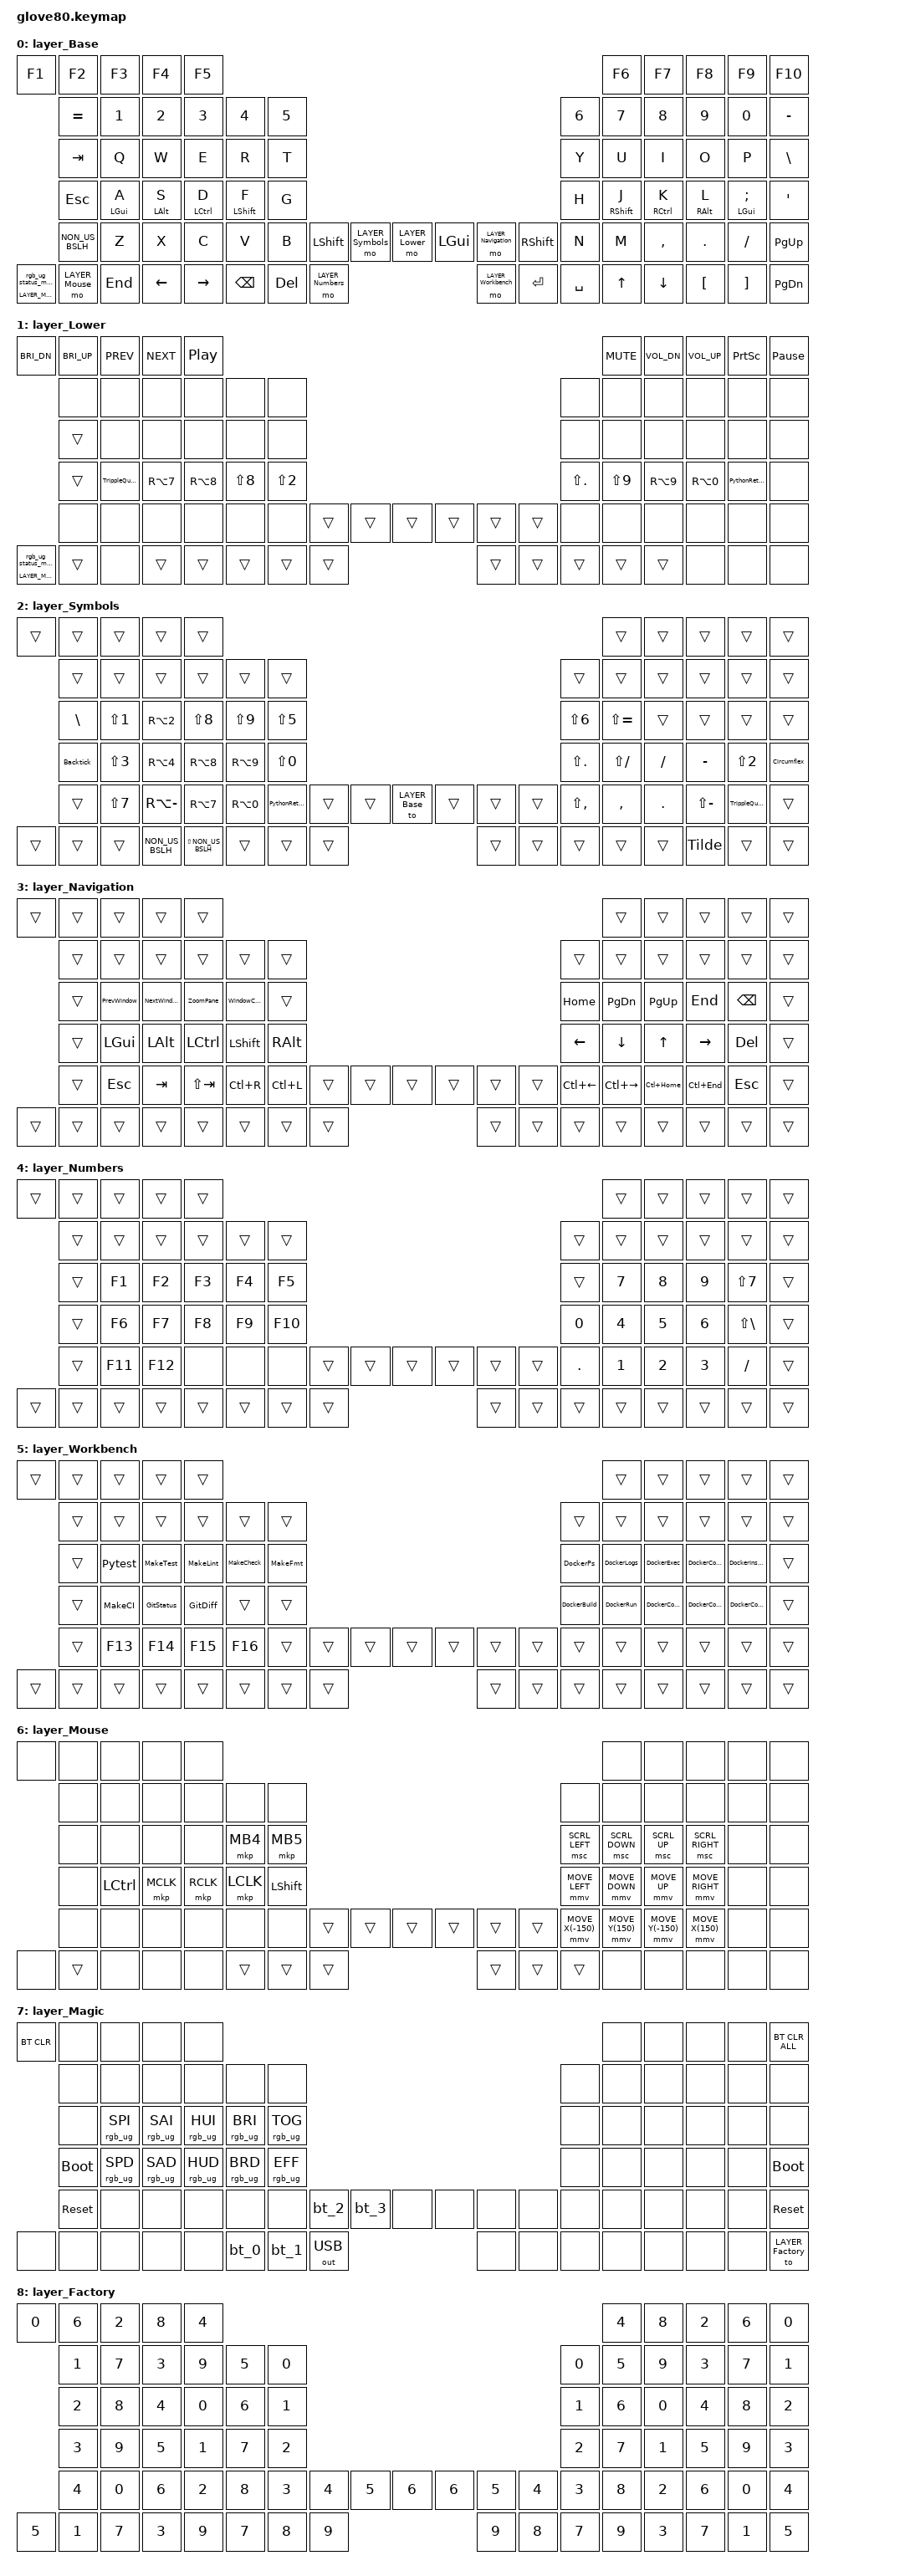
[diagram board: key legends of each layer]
/*
 * Copyright (c) 2020 The ZMK Contributors
 * Copyright (c) 2025 Innaworks Development Limited, trading as MoErgo
 *
 * SPDX-License-Identifier: MIT
 */


/* THIS FILE WAS GENERATED BY GLOVE80 LAYOUT EDITOR
 *
 * This file was generated automatically. You may or may not want to
 * edit it directly.
 */

#include <behaviors.dtsi>
/* Include all behavior includes needed */
#include <dt-bindings/zmk/outputs.h>
#include <dt-bindings/zmk/keys.h>
#include <dt-bindings/zmk/bt.h>
#include <dt-bindings/zmk/rgb.h>

/* On demand includes */
#include <dt-bindings/zmk/pointing.h>

/* Helper Macros, based on https://github.com/urob/zmk-helpers/ */

#pragma once

#define ZMK_HELPER_STRINGIFY(x) #x

// Preprocessor mechanism to overload macros, cf. https://stackoverflow.com/a/27051616/6114651
#define VARGS_(_10, _9, _8, _7, _6, _5, _4, _3, _2, _1, N, ...) N
#define VARGS(...) VARGS_(__VA_ARGS__, 10, 9, 8, 7, 6, 5, 4, 3, 2, 1, 0)
#define CONCAT_(a, b) a##b
#define CONCAT(a, b) CONCAT_(a, b)

#define ZMK_BEHAVIOR_CORE_tap_dance  \
    compatible = "zmk,behavior-tap-dance"; \
    #binding-cells = <0>

#define ZMK_BEHAVIOR(name, type, ...) \
    name: name { \
        ZMK_BEHAVIOR_CORE_ ## type; \
        __VA_ARGS__ \
    };

#define ZMK_TAP_DANCE(name, ...) \
    ZMK_BEHAVIOR(name, tap_dance, __VA_ARGS__)

#define ZMK_TD_LAYER(name, layer) \
    ZMK_TAP_DANCE(name, \
        tapping-term-ms = <200>; \
        bindings = <&mo layer>, <&to layer>; \
)

/* Environment and metadata defines */
#define KB_TYPE_GLOVE_80 1
#define KB_TYPE_GO_60    2

#define KB_TYPE          KB_TYPE_GLOVE_80
#define EDITOR_HOST_OS   'L'

/* Automatically generated layer name defines */
#define LAYER_Base 0
#define LAYER_Lower 1
#define LAYER_Symbols 2
#define LAYER_Navigation 3
#define LAYER_Numbers 4
#define LAYER_Workbench 5
#define LAYER_Mouse 6
#define LAYER_Magic 7
#define LAYER_Factory 8

/* To deal with the situation where there is no Lower layer, to keep &lower happy */
#ifndef LAYER_Lower
#define LAYER_Lower 0
#endif

/* Custom Device-tree */

#include "modifier-lighting.dtsi"

/* Input Listeners */


/* System behavior and Macros */
/ {
    behaviors {
        ZMK_TD_LAYER(lower, LAYER_Lower)
    };
};

/ {
    macros {
        rgb_ug_status_macro: rgb_ug_status_macro {
            label = "RGB_UG_STATUS";
            compatible = "zmk,behavior-macro";
            #binding-cells = <0>;
            bindings
                = <&rgb_ug RGB_STATUS>;
        };
    };
};


/ {
#ifdef BT_DISC_CMD
    behaviors {
        bt_0: bt_0 {
            compatible = "zmk,behavior-tap-dance";
            label = "BT_0";
            #binding-cells = <0>;
            tapping-term-ms = <200>;
            bindings = <&bt_select_0>, <&bt BT_DISC 0>;
        };
        bt_1: bt_1 {
            compatible = "zmk,behavior-tap-dance";
            label = "BT_1";
            #binding-cells = <0>;
            tapping-term-ms = <200>;
            bindings = <&bt_select_1>, <&bt BT_DISC 1>;
        };
        bt_2: bt_2 {
            compatible = "zmk,behavior-tap-dance";
            label = "BT_2";
            #binding-cells = <0>;
            tapping-term-ms = <200>;
            bindings = <&bt_select_2>, <&bt BT_DISC 2>;
        };
        bt_3: bt_3 {
            compatible = "zmk,behavior-tap-dance";
            label = "BT_3";
            #binding-cells = <0>;
            tapping-term-ms = <200>;
            bindings = <&bt_select_3>, <&bt BT_DISC 3>;
        };
    };
    macros {
        bt_select_0: bt_select_0 {
            label = "BT_SELECT_0";
            compatible = "zmk,behavior-macro";
            #binding-cells = <0>;
            bindings
                = <&out OUT_BLE>,
                  <&bt BT_SEL 0>;
        };
        bt_select_1: bt_select_1 {
            label = "BT_SELECT_1";
            compatible = "zmk,behavior-macro";
            #binding-cells = <0>;
            bindings
                = <&out OUT_BLE>,
                  <&bt BT_SEL 1>;
        };
        bt_select_2: bt_select_2 {
            label = "BT_SELECT_2";
            compatible = "zmk,behavior-macro";
            #binding-cells = <0>;
            bindings
                = <&out OUT_BLE>,
                  <&bt BT_SEL 2>;
        };
        bt_select_3: bt_select_3 {
            label = "BT_SELECT_3";
            compatible = "zmk,behavior-macro";
            #binding-cells = <0>;
            bindings
                = <&out OUT_BLE>,
                  <&bt BT_SEL 3>;
        };
    };
#else
    macros {
        bt_0: bt_0 {
            label = "BT_0";
            compatible = "zmk,behavior-macro";
            #binding-cells = <0>;
            bindings
                = <&out OUT_BLE>,
                  <&bt BT_SEL 0>;
        };
        bt_1: bt_1 {
            label = "BT_1";
            compatible = "zmk,behavior-macro";
            #binding-cells = <0>;
            bindings
                = <&out OUT_BLE>,
                  <&bt BT_SEL 1>;
        };
        bt_2: bt_2 {
            label = "BT_2";
            compatible = "zmk,behavior-macro";
            #binding-cells = <0>;
            bindings
                = <&out OUT_BLE>,
                  <&bt BT_SEL 2>;
        };
        bt_3: bt_3 {
            label = "BT_3";
            compatible = "zmk,behavior-macro";
            #binding-cells = <0>;
            bindings
                = <&out OUT_BLE>,
                  <&bt BT_SEL 3>;
        };
    };
#endif
};

/ {
    behaviors {
        magic: magic {
            compatible = "zmk,behavior-hold-tap";
            label = "MAGIC_HOLD_TAP";
            #binding-cells = <2>;
            flavor = "tap-preferred";
            tapping-term-ms = <200>;
            bindings = <&mo>, <&rgb_ug_status_macro>;
        };
    };
};


/* Locale-specific keycodes */

#define SV_SECTION GRAVE
#define SV_PLUS MINUS
#define SV_ACUTE EQUAL
#define SV_E E
#define SV_A_RING LEFT_BRACKET
#define SV_UMLA RIGHT_BRACKET
#define SV_OE SEMICOLON
#define SV_AE SINGLE_QUOTE
#define SV_SQT BACKSLASH
#define SV_LT NON_US_BACKSLASH
#define SV_COMMA COMMA
#define SV_DOT PERIOD
#define SV_MINUS SLASH
#define SV_N1 N1
#define SV_N2 N2
#define SV_N3 N3
#define SV_N4 N4
#define SV_N5 N5
#define SV_N6 N6
#define SV_N7 N7
#define SV_N8 N8
#define SV_N9 N9
#define SV_N0 N0


/* Key positions */

#define POS_LH_C6R1 0
#define POS_LH_C5R1 1
#define POS_LH_C4R1 2
#define POS_LH_C3R1 3
#define POS_LH_C2R1 4
#define POS_RH_C2R1 5
#define POS_RH_C3R1 6
#define POS_RH_C4R1 7
#define POS_RH_C5R1 8
#define POS_RH_C6R1 9
#define POS_LH_C6R2 10
#define POS_LH_C5R2 11
#define POS_LH_C4R2 12
#define POS_LH_C3R2 13
#define POS_LH_C2R2 14
#define POS_LH_C1R2 15
#define POS_RH_C1R2 16
#define POS_RH_C2R2 17
#define POS_RH_C3R2 18
#define POS_RH_C4R2 19
#define POS_RH_C5R2 20
#define POS_RH_C6R2 21
#define POS_LH_C6R3 22
#define POS_LH_C5R3 23
#define POS_LH_C4R3 24
#define POS_LH_C3R3 25
#define POS_LH_C2R3 26
#define POS_LH_C1R3 27
#define POS_RH_C1R3 28
#define POS_RH_C2R3 29
#define POS_RH_C3R3 30
#define POS_RH_C4R3 31
#define POS_RH_C5R3 32
#define POS_RH_C6R3 33
#define POS_LH_C6R4 34
#define POS_LH_C5R4 35
#define POS_LH_C4R4 36
#define POS_LH_C3R4 37
#define POS_LH_C2R4 38
#define POS_LH_C1R4 39
#define POS_RH_C1R4 40
#define POS_RH_C2R4 41
#define POS_RH_C3R4 42
#define POS_RH_C4R4 43
#define POS_RH_C5R4 44
#define POS_RH_C6R4 45
#define POS_LH_C6R5 46
#define POS_LH_C5R5 47
#define POS_LH_C4R5 48
#define POS_LH_C3R5 49
#define POS_LH_C2R5 50
#define POS_LH_C1R5 51
#define POS_LH_T1 52
#define POS_LH_T2 53
#define POS_LH_T3 54
#define POS_RH_T3 55
#define POS_RH_T2 56
#define POS_RH_T1 57
#define POS_RH_C1R5 58
#define POS_RH_C2R5 59
#define POS_RH_C3R5 60
#define POS_RH_C4R5 61
#define POS_RH_C5R5 62
#define POS_RH_C6R5 63
#define POS_LH_C6R6 64
#define POS_LH_C5R6 65
#define POS_LH_C4R6 66
#define POS_LH_C3R6 67
#define POS_LH_C2R6 68
#define POS_LH_T4 69
#define POS_LH_T5 70
#define POS_LH_T6 71
#define POS_RH_T6 72
#define POS_RH_T5 73
#define POS_RH_T4 74
#define POS_RH_C2R6 75
#define POS_RH_C3R6 76
#define POS_RH_C4R6 77
#define POS_RH_C5R6 78
#define POS_RH_C6R6 79


/* Custom Defined Behaviors */
/ {

};

/* Generated input processors */


/* Automatically generated macro definitions */
/ {
    macros {

        // writes a Python return arrow
        PythonReturn: PythonReturn {
            label = "&PYTHONRETURN";
            compatible = "zmk,behavior-macro";
            #binding-cells = <0>;
            wait-ms = <30>;
            bindings = <&kp FSLH>
                , <&kp LS(NON_US_BSLH)>;
        };

        // Tripple quotation marks
        TrippleQuote: TrippleQuote {
            label = "&TRIPPLEQUOTE";
            compatible = "zmk,behavior-macro";
            #binding-cells = <0>;
            wait-ms = <30>;
            bindings = <&kp LS(N2)>
                , <&kp LS(N2)>
                , <&kp LS(N2)>;
        };

        Tilde: Tilde {
            label = "&TILDE";
            compatible = "zmk,behavior-macro";
            #binding-cells = <0>;
            wait-ms = <30>;
            bindings = <&kp RA(RBKT)>
                , <&kp SPACE>;
        };

        Circumflex: Circumflex {
            label = "&CIRCUMFLEX";
            compatible = "zmk,behavior-macro";
            #binding-cells = <0>;
            wait-ms = <30>;
            bindings = <&kp LS(RBKT)>
                , <&kp SPACE>;
        };

        Backtick: Backtick {
            label = "&BACKTICK";
            compatible = "zmk,behavior-macro";
            #binding-cells = <0>;
            wait-ms = <30>;
            bindings = <&kp LS(EQUAL)>
                , <&kp SPACE>;
        };

        PrevWindow: PrevWindow {
            label = "&PREVWINDOW";
            compatible = "zmk,behavior-macro";
            #binding-cells = <0>;
            wait-ms = <30>;
            bindings = <&kp LC(A)>
                , <&kp P>;
        };

        NextWindow: NextWindow {
            label = "&NEXTWINDOW";
            compatible = "zmk,behavior-macro";
            #binding-cells = <0>;
            wait-ms = <30>;
            bindings = <&kp LC(A)>
                , <&kp N>;
        };

        WindowChooser: WindowChooser {
            label = "&WINDOWCHOOSER";
            compatible = "zmk,behavior-macro";
            #binding-cells = <0>;
            wait-ms = <30>;
            bindings = <&kp LC(A)>
                , <&kp W>;
        };

        ZoomPane: ZoomPane {
            label = "&ZOOMPANE";
            compatible = "zmk,behavior-macro";
            #binding-cells = <0>;
            wait-ms = <30>;
            bindings = <&kp LC(A)>
                , <&kp Z>;
        };

        Pytest: Pytest {
            label = "&PYTEST";
            compatible = "zmk,behavior-macro";
            #binding-cells = <0>;
            wait-ms = <30>;
            bindings = <&kp P>
                , <&kp Y>
                , <&kp T>
                , <&kp H>
                , <&kp O>
                , <&kp N>
                , <&kp SPACE>
                , <&kp FSLH>
                , <&kp M>
                , <&kp SPACE>
                , <&kp P>
                , <&kp Y>
                , <&kp T>
                , <&kp E>
                , <&kp S>
                , <&kp T>
                , <&kp SPACE>;
        };

        MakeTest: MakeTest {
            label = "&MAKETEST";
            compatible = "zmk,behavior-macro";
            #binding-cells = <0>;
            wait-ms = <30>;
            bindings = <&kp M>
                , <&kp A>
                , <&kp K>
                , <&kp E>
                , <&kp SPACE>
                , <&kp T>
                , <&kp E>
                , <&kp S>
                , <&kp T>
                , <&kp SPACE>;
        };

        MakeLint: MakeLint {
            label = "&MAKELINT";
            compatible = "zmk,behavior-macro";
            #binding-cells = <0>;
            wait-ms = <30>;
            bindings = <&kp M>
                , <&kp A>
                , <&kp K>
                , <&kp E>
                , <&kp SPACE>
                , <&kp L>
                , <&kp I>
                , <&kp N>
                , <&kp T>
                , <&kp SPACE>;
        };

        MakeCheck: MakeCheck {
            label = "&MAKECHECK";
            compatible = "zmk,behavior-macro";
            #binding-cells = <0>;
            wait-ms = <30>;
            bindings = <&kp M>
                , <&kp A>
                , <&kp K>
                , <&kp E>
                , <&kp SPACE>
                , <&kp C>
                , <&kp H>
                , <&kp E>
                , <&kp C>
                , <&kp K>
                , <&kp SPACE>;
        };

        MakeFmt: MakeFmt {
            label = "&MAKEFMT";
            compatible = "zmk,behavior-macro";
            #binding-cells = <0>;
            wait-ms = <30>;
            bindings = <&kp M>
                , <&kp A>
                , <&kp K>
                , <&kp E>
                , <&kp SPACE>
                , <&kp F>
                , <&kp M>
                , <&kp T>
                , <&kp SPACE>;
        };

        MakeCI: MakeCI {
            label = "&MAKECI";
            compatible = "zmk,behavior-macro";
            #binding-cells = <0>;
            wait-ms = <30>;
            bindings = <&kp M>
                , <&kp A>
                , <&kp K>
                , <&kp E>
                , <&kp SPACE>
                , <&kp C>
                , <&kp I>
                , <&kp SPACE>;
        };

        GitStatus: GitStatus {
            label = "&GITSTATUS";
            compatible = "zmk,behavior-macro";
            #binding-cells = <0>;
            wait-ms = <30>;
            bindings = <&kp G>
                , <&kp I>
                , <&kp T>
                , <&kp SPACE>
                , <&kp S>
                , <&kp T>
                , <&kp A>
                , <&kp T>
                , <&kp U>
                , <&kp S>
                , <&kp SPACE>;
        };

        GitDiff: GitDiff {
            label = "&GITDIFF";
            compatible = "zmk,behavior-macro";
            #binding-cells = <0>;
            wait-ms = <30>;
            bindings = <&kp G>
                , <&kp I>
                , <&kp T>
                , <&kp SPACE>
                , <&kp D>
                , <&kp I>
                , <&kp F>
                , <&kp F>
                , <&kp SPACE>;
        };

        DockerPs: DockerPs {
            label = "&DOCKERPS";
            compatible = "zmk,behavior-macro";
            #binding-cells = <0>;
            wait-ms = <30>;
            bindings = <&kp D>
                , <&kp O>
                , <&kp C>
                , <&kp K>
                , <&kp E>
                , <&kp R>
                , <&kp SPACE>
                , <&kp P>
                , <&kp S>
                , <&kp SPACE>;
        };

        DockerLogs: DockerLogs {
            label = "&DOCKERLOGS";
            compatible = "zmk,behavior-macro";
            #binding-cells = <0>;
            wait-ms = <30>;
            bindings = <&kp D>
                , <&kp O>
                , <&kp C>
                , <&kp K>
                , <&kp E>
                , <&kp R>
                , <&kp SPACE>
                , <&kp L>
                , <&kp O>
                , <&kp G>
                , <&kp S>
                , <&kp SPACE>
                , <&kp FSLH>
                , <&kp F>
                , <&kp SPACE>;
        };

        DockerExec: DockerExec {
            label = "&DOCKEREXEC";
            compatible = "zmk,behavior-macro";
            #binding-cells = <0>;
            wait-ms = <30>;
            bindings = <&kp D>
                , <&kp O>
                , <&kp C>
                , <&kp K>
                , <&kp E>
                , <&kp R>
                , <&kp SPACE>
                , <&kp E>
                , <&kp X>
                , <&kp E>
                , <&kp C>
                , <&kp SPACE>
                , <&kp FSLH>
                , <&kp I>
                , <&kp T>
                , <&kp SPACE>;
        };

        DockerCompose: DockerCompose {
            label = "&DOCKERCOMPOSE";
            compatible = "zmk,behavior-macro";
            #binding-cells = <0>;
            wait-ms = <30>;
            bindings = <&kp D>
                , <&kp O>
                , <&kp C>
                , <&kp K>
                , <&kp E>
                , <&kp R>
                , <&kp SPACE>
                , <&kp C>
                , <&kp O>
                , <&kp M>
                , <&kp P>
                , <&kp O>
                , <&kp S>
                , <&kp E>
                , <&kp SPACE>;
        };

        DockerInspect: DockerInspect {
            label = "&DOCKERINSPECT";
            compatible = "zmk,behavior-macro";
            #binding-cells = <0>;
            wait-ms = <30>;
            bindings = <&kp D>
                , <&kp O>
                , <&kp C>
                , <&kp K>
                , <&kp E>
                , <&kp R>
                , <&kp SPACE>
                , <&kp I>
                , <&kp N>
                , <&kp S>
                , <&kp P>
                , <&kp E>
                , <&kp C>
                , <&kp T>
                , <&kp SPACE>;
        };

        DockerBuild: DockerBuild {
            label = "&DOCKERBUILD";
            compatible = "zmk,behavior-macro";
            #binding-cells = <0>;
            wait-ms = <30>;
            bindings = <&kp D>
                , <&kp O>
                , <&kp C>
                , <&kp K>
                , <&kp E>
                , <&kp R>
                , <&kp SPACE>
                , <&kp B>
                , <&kp U>
                , <&kp I>
                , <&kp L>
                , <&kp D>
                , <&kp SPACE>
                , <&kp FSLH>
                , <&kp T>
                , <&kp SPACE>;
        };

        DockerRun: DockerRun {
            label = "&DOCKERRUN";
            compatible = "zmk,behavior-macro";
            #binding-cells = <0>;
            wait-ms = <30>;
            bindings = <&kp D>
                , <&kp O>
                , <&kp C>
                , <&kp K>
                , <&kp E>
                , <&kp R>
                , <&kp SPACE>
                , <&kp R>
                , <&kp U>
                , <&kp N>
                , <&kp SPACE>
                , <&kp FSLH>
                , <&kp R>
                , <&kp M>
                , <&kp SPACE>;
        };

        DockerComposeLogs: DockerComposeLogs {
            label = "&DOCKERCOMPOSELOGS";
            compatible = "zmk,behavior-macro";
            #binding-cells = <0>;
            wait-ms = <30>;
            bindings = <&kp D>
                , <&kp O>
                , <&kp C>
                , <&kp K>
                , <&kp E>
                , <&kp R>
                , <&kp SPACE>
                , <&kp C>
                , <&kp O>
                , <&kp M>
                , <&kp P>
                , <&kp O>
                , <&kp S>
                , <&kp E>
                , <&kp SPACE>
                , <&kp L>
                , <&kp O>
                , <&kp G>
                , <&kp S>
                , <&kp SPACE>
                , <&kp FSLH>
                , <&kp F>
                , <&kp SPACE>;
        };

        DockerComposeUp: DockerComposeUp {
            label = "&DOCKERCOMPOSEUP";
            compatible = "zmk,behavior-macro";
            #binding-cells = <0>;
            wait-ms = <30>;
            bindings = <&kp D>
                , <&kp O>
                , <&kp C>
                , <&kp K>
                , <&kp E>
                , <&kp R>
                , <&kp SPACE>
                , <&kp C>
                , <&kp O>
                , <&kp M>
                , <&kp P>
                , <&kp O>
                , <&kp S>
                , <&kp E>
                , <&kp SPACE>
                , <&kp U>
                , <&kp P>
                , <&kp SPACE>;
        };

        DockerComposeConfig: DockerComposeConfig {
            label = "&DOCKERCOMPOSECONFIG";
            compatible = "zmk,behavior-macro";
            #binding-cells = <0>;
            wait-ms = <30>;
            bindings = <&kp D>
                , <&kp O>
                , <&kp C>
                , <&kp K>
                , <&kp E>
                , <&kp R>
                , <&kp SPACE>
                , <&kp C>
                , <&kp O>
                , <&kp M>
                , <&kp P>
                , <&kp O>
                , <&kp S>
                , <&kp E>
                , <&kp SPACE>
                , <&kp C>
                , <&kp O>
                , <&kp N>
                , <&kp F>
                , <&kp I>
                , <&kp G>
                , <&kp SPACE>;
        };
    };
};

/* Automatically generated behavior definitions */
/ {
    behaviors {


        // Capsword helper - tap for caps_word - hold for key press
        CAPSWord_v1_TKZ: CAPSWord_v1_TKZ {
            compatible = "zmk,behavior-hold-tap";
            #binding-cells = <2>;
            tapping-term-ms = <200>;
            bindings = <&kp>, <&caps_word>;
        };

        // Homerow Mod for the left index finger - TailorKey.
        // For advanced tuning of HRM values, see: https://docs.google.com/spreadsheets/d/1ESgObQelyz4lnKlfwLYsmofLJulOMK5RdGBsopLe2o8
        HRM_left_index_v1_TKZ: HRM_left_index_v1_TKZ {
            compatible = "zmk,behavior-hold-tap";
            #binding-cells = <2>;
            tapping-term-ms = <190>;
            bindings = <&kp>, <&kp>;
            flavor = "tap-preferred";
            quick-tap-ms = <300>;
            require-prior-idle-ms = <100>;
            hold-trigger-key-positions = <POS_RH_T1 POS_RH_T2 POS_RH_T3 POS_RH_T6 POS_RH_T5 POS_RH_T4 POS_RH_C2R1 POS_RH_C3R1 POS_RH_C4R1 POS_RH_C5R1 POS_RH_C1R2 POS_RH_C2R2 POS_RH_C3R2 POS_RH_C4R2 POS_RH_C5R2 POS_RH_C1R3 POS_RH_C2R3 POS_RH_C3R3 POS_RH_C4R3 POS_RH_C5R3 POS_RH_C1R4 POS_RH_C2R4 POS_RH_C3R4 POS_RH_C4R4 POS_RH_C5R4 POS_RH_C1R5 POS_RH_C2R5 POS_RH_C3R5 POS_RH_C4R5 POS_RH_C5R5 POS_RH_C2R6 POS_RH_C3R6 POS_RH_C4R6 POS_RH_C5R6 POS_RH_C6R1 POS_RH_C6R2 POS_RH_C6R3 POS_RH_C6R4 POS_RH_C6R5 POS_RH_C6R6 POS_LH_T1 POS_LH_T2 POS_LH_T3 POS_LH_T5 POS_LH_T6 POS_LH_T4>;
            hold-trigger-on-release;
        };

        // Homerow Mod for the left middle finger - TailorKey
        HRM_left_middy_v1_TKZ: HRM_left_middy_v1_TKZ {
            compatible = "zmk,behavior-hold-tap";
            #binding-cells = <2>;
            tapping-term-ms = <210>;
            bindings = <&kp>, <&kp>;
            flavor = "tap-preferred";
            quick-tap-ms = <300>;
            require-prior-idle-ms = <150>;
            hold-trigger-key-positions = <POS_RH_T1 POS_RH_T2 POS_RH_T3 POS_RH_T6 POS_RH_T5 POS_RH_T4 POS_RH_C2R1 POS_RH_C3R1 POS_RH_C4R1 POS_RH_C5R1 POS_RH_C1R2 POS_RH_C2R2 POS_RH_C3R2 POS_RH_C4R2 POS_RH_C5R2 POS_RH_C1R3 POS_RH_C2R3 POS_RH_C3R3 POS_RH_C4R3 POS_RH_C5R3 POS_RH_C1R4 POS_RH_C2R4 POS_RH_C3R4 POS_RH_C4R4 POS_RH_C5R4 POS_RH_C1R5 POS_RH_C2R5 POS_RH_C3R5 POS_RH_C4R5 POS_RH_C5R5 POS_RH_C2R6 POS_RH_C3R6 POS_RH_C4R6 POS_RH_C5R6 POS_RH_C6R1 POS_RH_C6R2 POS_RH_C6R3 POS_RH_C6R4 POS_RH_C6R5 POS_RH_C6R6 POS_LH_T1 POS_LH_T2 POS_LH_T3 POS_LH_T4 POS_LH_T5 POS_LH_T6>;
            hold-trigger-on-release;
        };

        // Homerow Mod for the left pinky - TailorKey
        HRM_left_pinky_v1_TKZ: HRM_left_pinky_v1_TKZ {
            compatible = "zmk,behavior-hold-tap";
            #binding-cells = <2>;
            tapping-term-ms = <260>;
            bindings = <&kp>, <&kp>;
            flavor = "tap-preferred";
            quick-tap-ms = <300>;
            require-prior-idle-ms = <150>;
            hold-trigger-key-positions = <POS_RH_T1 POS_RH_T2 POS_RH_T3 POS_RH_T6 POS_RH_T5 POS_RH_T4 POS_RH_C2R1 POS_RH_C3R1 POS_RH_C4R1 POS_RH_C5R1 POS_RH_C6R1 POS_RH_C1R2 POS_RH_C2R2 POS_RH_C3R2 POS_RH_C4R2 POS_RH_C5R2 POS_RH_C6R2 POS_RH_C2R3 POS_RH_C3R3 POS_RH_C4R3 POS_RH_C5R3 POS_RH_C6R3 POS_RH_C3R4 POS_RH_C4R4 POS_RH_C5R4 POS_RH_C6R4 POS_RH_C3R5 POS_RH_C4R5 POS_RH_C5R5 POS_RH_C6R5 POS_RH_C1R3 POS_RH_C1R4 POS_RH_C2R4 POS_RH_C1R5 POS_RH_C2R5 POS_RH_C2R6 POS_RH_C3R6 POS_RH_C4R6 POS_RH_C6R6 POS_RH_C5R6 POS_LH_T1 POS_LH_T2 POS_LH_T3 POS_LH_T4 POS_LH_T5 POS_LH_T6>;
            hold-trigger-on-release;
        };

        // Homerow Mod for the left ring finger 1 - TailorKey
        HRM_left_ring_v1_TKZ: HRM_left_ring_v1_TKZ {
            compatible = "zmk,behavior-hold-tap";
            #binding-cells = <2>;
            tapping-term-ms = <240>;
            bindings = <&kp>, <&kp>;
            flavor = "tap-preferred";
            quick-tap-ms = <300>;
            require-prior-idle-ms = <150>;
            hold-trigger-key-positions = <POS_RH_T1 POS_RH_T2 POS_RH_T3 POS_RH_T6 POS_RH_T5 POS_RH_T4 POS_RH_C2R1 POS_RH_C3R1 POS_RH_C4R1 POS_RH_C5R1 POS_RH_C1R2 POS_RH_C2R2 POS_RH_C3R2 POS_RH_C4R2 POS_RH_C5R2 POS_RH_C1R3 POS_RH_C2R3 POS_RH_C3R3 POS_RH_C4R3 POS_RH_C5R3 POS_RH_C1R4 POS_RH_C2R4 POS_RH_C3R4 POS_RH_C4R4 POS_RH_C5R4 POS_RH_C1R5 POS_RH_C2R5 POS_RH_C3R5 POS_RH_C4R5 POS_RH_C5R5 POS_RH_C2R6 POS_RH_C3R6 POS_RH_C4R6 POS_RH_C5R6 POS_RH_C6R1 POS_RH_C6R2 POS_RH_C6R3 POS_RH_C6R4 POS_RH_C6R5 POS_RH_C6R6 POS_LH_T1 POS_LH_T2 POS_LH_T3 POS_LH_T4 POS_LH_T5 POS_LH_T6>;
            hold-trigger-on-release;
        };

        // Homerow Mod for the right index finger - TailorKey
        HRM_right_index_v1_TKZ: HRM_right_index_v1_TKZ {
            compatible = "zmk,behavior-hold-tap";
            #binding-cells = <2>;
            tapping-term-ms = <190>;
            bindings = <&kp>, <&kp>;
            flavor = "tap-preferred";
            quick-tap-ms = <300>;
            require-prior-idle-ms = <100>;
            hold-trigger-key-positions = <POS_LH_T1 POS_LH_T2 POS_LH_T3 POS_LH_T6 POS_LH_T5 POS_LH_T4 POS_LH_C6R1 POS_LH_C5R1 POS_LH_C6R2 POS_LH_C5R2 POS_LH_C4R2 POS_LH_C3R2 POS_LH_C2R2 POS_LH_C6R3 POS_LH_C5R3 POS_LH_C4R3 POS_LH_C3R3 POS_LH_C2R3 POS_LH_C1R3 POS_LH_C6R4 POS_LH_C5R4 POS_LH_C4R4 POS_LH_C3R4 POS_LH_C2R4 POS_LH_C1R4 POS_LH_C6R5 POS_LH_C5R5 POS_LH_C4R5 POS_LH_C3R5 POS_LH_C2R5 POS_LH_C1R5 POS_LH_C6R6 POS_LH_C5R6 POS_LH_C4R6 POS_LH_C3R6 POS_LH_C2R6 POS_LH_C1R2 POS_LH_C2R1 POS_LH_C4R1 POS_LH_C3R1 POS_RH_T3 POS_RH_T2 POS_RH_T1 POS_RH_T6 POS_RH_T5 POS_RH_T4>;
            hold-trigger-on-release;
        };

        // Homerow Mod for the right middle finger - TailorKey
        HRM_right_middy_v1_TKZ: HRM_right_middy_v1_TKZ {
            compatible = "zmk,behavior-hold-tap";
            #binding-cells = <2>;
            tapping-term-ms = <210>;
            bindings = <&kp>, <&kp>;
            flavor = "tap-preferred";
            quick-tap-ms = <300>;
            require-prior-idle-ms = <150>;
            hold-trigger-key-positions = <POS_LH_T1 POS_LH_T2 POS_LH_T3 POS_LH_T6 POS_LH_T5 POS_LH_T4 POS_LH_C6R1 POS_LH_C5R1 POS_LH_C6R2 POS_LH_C5R2 POS_LH_C4R2 POS_LH_C3R2 POS_LH_C2R2 POS_LH_C6R3 POS_LH_C5R3 POS_LH_C4R3 POS_LH_C3R3 POS_LH_C2R3 POS_LH_C1R3 POS_LH_C6R4 POS_LH_C5R4 POS_LH_C4R4 POS_LH_C3R4 POS_LH_C2R4 POS_LH_C1R4 POS_LH_C6R5 POS_LH_C5R5 POS_LH_C4R5 POS_LH_C3R5 POS_LH_C2R5 POS_LH_C1R5 POS_LH_C6R6 POS_LH_C5R6 POS_LH_C4R6 POS_LH_C3R6 POS_LH_C2R6 POS_LH_C1R2 POS_LH_C2R1 POS_LH_C4R1 POS_LH_C3R1 POS_RH_T3 POS_RH_T2 POS_RH_T1 POS_RH_T6 POS_RH_T5 POS_RH_T4>;
            hold-trigger-on-release;
        };

        // Homerow Mod for the right pinky - TailorKey
        HRM_right_pinky_v1_TKZ: HRM_right_pinky_v1_TKZ {
            compatible = "zmk,behavior-hold-tap";
            #binding-cells = <2>;
            tapping-term-ms = <260>;
            bindings = <&kp>, <&kp>;
            flavor = "tap-preferred";
            quick-tap-ms = <300>;
            require-prior-idle-ms = <150>;
            hold-trigger-key-positions = <POS_LH_T1 POS_LH_T2 POS_LH_T3 POS_LH_T6 POS_LH_T5 POS_LH_T4 POS_LH_C6R1 POS_LH_C5R1 POS_LH_C6R2 POS_LH_C5R2 POS_LH_C4R2 POS_LH_C3R2 POS_LH_C2R2 POS_LH_C6R3 POS_LH_C5R3 POS_LH_C4R3 POS_LH_C3R3 POS_LH_C2R3 POS_LH_C1R3 POS_LH_C6R4 POS_LH_C5R4 POS_LH_C4R4 POS_LH_C3R4 POS_LH_C2R4 POS_LH_C1R4 POS_LH_C6R5 POS_LH_C5R5 POS_LH_C4R5 POS_LH_C3R5 POS_LH_C2R5 POS_LH_C1R5 POS_LH_C6R6 POS_LH_C5R6 POS_LH_C4R6 POS_LH_C3R6 POS_LH_C2R6 POS_LH_C1R2 POS_LH_C2R1 POS_LH_C4R1 POS_LH_C3R1 POS_RH_T3 POS_RH_T2 POS_RH_T1 POS_RH_T6 POS_RH_T5 POS_RH_T4>;
            hold-trigger-on-release;
        };

        // Homerow Mod for the right ring 1 - TailorKey
        //
        HRM_right_ring_v1_TKZ: HRM_right_ring_v1_TKZ {
            compatible = "zmk,behavior-hold-tap";
            #binding-cells = <2>;
            tapping-term-ms = <240>;
            bindings = <&kp>, <&kp>;
            flavor = "tap-preferred";
            quick-tap-ms = <300>;
            require-prior-idle-ms = <150>;
            hold-trigger-key-positions = <POS_LH_T1 POS_LH_T2 POS_LH_T3 POS_LH_T6 POS_LH_T5 POS_LH_T4 POS_LH_C6R1 POS_LH_C5R1 POS_LH_C6R2 POS_LH_C5R2 POS_LH_C4R2 POS_LH_C3R2 POS_LH_C2R2 POS_LH_C6R3 POS_LH_C5R3 POS_LH_C4R3 POS_LH_C3R3 POS_LH_C2R3 POS_LH_C1R3 POS_LH_C6R4 POS_LH_C5R4 POS_LH_C4R4 POS_LH_C3R4 POS_LH_C2R4 POS_LH_C1R4 POS_LH_C6R5 POS_LH_C5R5 POS_LH_C4R5 POS_LH_C3R5 POS_LH_C2R5 POS_LH_C1R5 POS_LH_C6R6 POS_LH_C5R6 POS_LH_C4R6 POS_LH_C3R6 POS_LH_C2R6 POS_LH_C1R2 POS_LH_C2R1 POS_LH_C4R1 POS_LH_C3R1 POS_RH_T3 POS_RH_T2 POS_RH_T1 POS_RH_T6 POS_RH_T5 POS_RH_T4>;
            hold-trigger-on-release;
        };

        // space_layer_access - TailorKey
        space_v3_TKZ: space_v3_TKZ {
            compatible = "zmk,behavior-hold-tap";
            #binding-cells = <2>;
            tapping-term-ms = <200>;
            bindings = <&mo>, <&kp>;
            flavor = "balanced";
            quick-tap-ms = <150>;
        };

        // thumb_layer_access - TailorKey
        thumb_v2_TKZ: thumb_v2_TKZ {
            compatible = "zmk,behavior-hold-tap";
            #binding-cells = <2>;
            tapping-term-ms = <200>;
            bindings = <&mo>, <&kp>;
            flavor = "balanced";
            quick-tap-ms = <300>;
        };
    };
};

/* Automatically generated combos definitions */


/* Automatically generated keymap */
/ {
    keymap {
        compatible = "zmk,keymap";


        layer_Base {
            bindings = <
               &kp F1                         &kp F2                        &kp F3                          &kp F4                          &kp F5                                                                                                                                                  &kp F6                           &kp F7                         &kp F8                             &kp F9    &kp F10
            &kp EQUAL                         &kp N1                        &kp N2                          &kp N3                          &kp N4  &kp N5                                                                                                         &kp N6                           &kp N7                           &kp N8                         &kp N9                             &kp N0  &kp MINUS
              &kp TAB                          &kp Q                         &kp W                           &kp E                           &kp R   &kp T                                                                                                          &kp Y                            &kp U                            &kp I                          &kp O                              &kp P   &kp BSLH
              &kp ESC  &HRM_left_pinky_v1_TKZ LGUI A  &HRM_left_ring_v1_TKZ LALT S  &HRM_left_middy_v1_TKZ LCTRL D  &HRM_left_index_v1_TKZ LSHFT F   &kp G                                                                                                          &kp H  &HRM_right_index_v1_TKZ RSHFT J  &HRM_right_middy_v1_TKZ RCTRL K  &HRM_right_ring_v1_TKZ RALT L  &HRM_right_pinky_v1_TKZ LGUI SEMI    &kp SQT
      &kp NON_US_BSLH                          &kp Z                         &kp X                           &kp C                           &kp V   &kp B  &kp LSHFT  &mo LAYER_Symbols    &mo LAYER_Lower             &kp LGUI  &mo LAYER_Navigation  &kp RSHFT   &kp N                            &kp M                        &kp COMMA                        &kp DOT                           &kp FSLH  &kp PG_UP
 &magic LAYER_Magic 0                &mo LAYER_Mouse                       &kp END                        &kp LEFT                       &kp RIGHT           &kp BSPC            &kp DEL  &mo LAYER_Numbers  &mo LAYER_Workbench               &kp RET  &kp SPACE                                   &kp UP                         &kp DOWN                       &kp LBKT                           &kp RBKT  &kp PG_DN
            >;
        };

        layer_Lower {
            bindings = <
         &kp C_BRI_DN   &kp C_BRI_UP  &kp C_PREV  &kp C_NEXT    &kp C_PP                                                                           &kp C_MUTE  &kp C_VOL_DN  &kp C_VOL_UP      &kp PSCRN  &kp PAUSE_BREAK
                &none          &none       &none       &none       &none       &none                                                        &none       &none         &none         &none          &none            &none
               &trans          &none       &none       &none       &none       &none                                                        &none       &none         &none         &none          &none            &none
               &trans  &TrippleQuote  &kp RA(N7)  &kp RA(N8)  &kp LS(N8)  &kp LS(N2)                                                  &kp LS(DOT)  &kp LS(N9)    &kp RA(N9)    &kp RA(N0)  &PythonReturn            &none
                &none          &none       &none       &none       &none       &none  &trans  &trans  &trans  &trans  &trans  &trans        &none       &none         &none         &none          &none            &none
 &magic LAYER_Magic 0         &trans       &none      &trans      &trans              &trans  &trans  &trans  &trans  &trans  &trans                   &trans        &trans         &none          &none            &none
            >;
        };

        layer_Symbols {
            bindings = <
    &trans      &trans         &trans           &trans               &trans                                                                                               &trans    &trans         &trans         &trans       &trans
    &trans      &trans         &trans           &trans               &trans         &trans                                                                 &trans         &trans    &trans         &trans         &trans       &trans
  &kp BSLH  &kp LS(N1)     &kp RA(N2)       &kp LS(N8)           &kp LS(N9)     &kp LS(N5)                                                             &kp LS(N6)  &kp LS(EQUAL)    &trans         &trans         &trans       &trans
 &Backtick  &kp LS(N3)     &kp RA(N4)       &kp RA(N8)           &kp RA(N9)     &kp LS(N0)                                                            &kp LS(DOT)   &kp LS(FSLH)  &kp FSLH      &kp MINUS     &kp LS(N2)  &Circumflex
    &trans  &kp LS(N7)  &kp RA(MINUS)       &kp RA(N7)           &kp RA(N0)  &PythonReturn  &trans  &trans  &to LAYER_Base  &trans  &trans  &trans  &kp LS(COMMA)      &kp COMMA   &kp DOT  &kp LS(MINUS)  &TrippleQuote       &trans
    &trans      &trans         &trans  &kp NON_US_BSLH  &kp LS(NON_US_BSLH)                 &trans  &trans          &trans  &trans  &trans  &trans                        &trans    &trans         &Tilde         &trans       &trans
            >;
        };

        layer_Navigation {
            bindings = <
 &trans       &trans       &trans       &trans          &trans                                                                                  &trans        &trans       &trans    &trans  &trans
 &trans       &trans       &trans       &trans          &trans     &trans                                                        &trans         &trans        &trans       &trans    &trans  &trans
 &trans  &PrevWindow  &NextWindow    &ZoomPane  &WindowChooser     &trans                                                      &kp HOME      &kp PG_DN     &kp PG_UP      &kp END  &kp BSPC  &trans
 &trans     &kp LGUI     &kp LALT    &kp LCTRL       &kp LSHFT   &kp RALT                                                      &kp LEFT       &kp DOWN        &kp UP    &kp RIGHT   &kp DEL  &trans
 &trans      &kp ESC      &kp TAB  &kp LS(TAB)       &kp LC(R)  &kp LC(L)  &trans  &trans  &trans  &trans  &trans  &trans  &kp LC(LEFT)  &kp LC(RIGHT)  &kp LC(HOME)  &kp LC(END)   &kp ESC  &trans
 &trans       &trans       &trans       &trans          &trans             &trans  &trans  &trans  &trans  &trans  &trans                       &trans        &trans       &trans    &trans  &trans
            >;
        };

        layer_Numbers {
            bindings = <
 &trans   &trans   &trans  &trans  &trans                                                                    &trans  &trans  &trans        &trans  &trans
 &trans   &trans   &trans  &trans  &trans   &trans                                                   &trans  &trans  &trans  &trans        &trans  &trans
 &trans   &kp F1   &kp F2  &kp F3  &kp F4   &kp F5                                                   &trans  &kp N7  &kp N8  &kp N9    &kp LS(N7)  &trans
 &trans   &kp F6   &kp F7  &kp F8  &kp F9  &kp F10                                                   &kp N0  &kp N4  &kp N5  &kp N6  &kp LS(BSLH)  &trans
 &trans  &kp F11  &kp F12   &none   &none    &none  &trans  &trans  &trans  &trans  &trans  &trans  &kp DOT  &kp N1  &kp N2  &kp N3      &kp FSLH  &trans
 &trans   &trans   &trans  &trans  &trans           &trans  &trans  &trans  &trans  &trans  &trans           &trans  &trans  &trans        &trans  &trans
            >;
        };

        layer_Workbench {
            bindings = <
 &trans   &trans      &trans     &trans      &trans                                                                               &trans              &trans            &trans                &trans  &trans
 &trans   &trans      &trans     &trans      &trans    &trans                                                        &trans       &trans              &trans            &trans                &trans  &trans
 &trans  &Pytest   &MakeTest  &MakeLint  &MakeCheck  &MakeFmt                                                     &DockerPs  &DockerLogs         &DockerExec    &DockerCompose        &DockerInspect  &trans
 &trans  &MakeCI  &GitStatus   &GitDiff      &trans    &trans                                                  &DockerBuild   &DockerRun  &DockerComposeLogs  &DockerComposeUp  &DockerComposeConfig  &trans
 &trans  &kp F13     &kp F14    &kp F15     &kp F16    &trans  &trans  &trans  &trans  &trans  &trans  &trans        &trans       &trans              &trans            &trans                &trans  &trans
 &trans   &trans      &trans     &trans      &trans            &trans  &trans  &trans  &trans  &trans  &trans                     &trans              &trans            &trans                &trans  &trans
            >;
        };

        layer_Mouse {
            bindings = <
  &none      &none      &none      &none      &none                                                                                           &none              &none             &none   &none   &none
  &none      &none      &none      &none      &none      &none                                                              &none             &none              &none             &none   &none   &none
  &none      &none      &none      &none   &mkp MB4   &mkp MB5                                                     &msc SCRL_LEFT    &msc SCRL_DOWN       &msc SCRL_UP   &msc SCRL_RIGHT   &none   &none
  &none  &kp LCTRL  &mkp MCLK  &mkp RCLK  &mkp LCLK  &kp LSHFT                                                     &mmv MOVE_LEFT    &mmv MOVE_DOWN       &mmv MOVE_UP   &mmv MOVE_RIGHT   &none   &none
  &none      &none      &none      &none      &none      &none  &trans  &trans  &trans  &trans  &trans  &trans  &mmv MOVE_X(-150)  &mmv MOVE_Y(150)  &mmv MOVE_Y(-150)  &mmv MOVE_X(150)   &none   &none
  &none     &trans      &none      &none      &none             &trans  &trans  &trans  &trans  &trans  &trans                                &none              &none             &none   &none   &none
            >;
        };

        layer_Magic {
            bindings = <
  &bt BT_CLR            &none            &none            &none            &none                                                                                  &none   &none   &none   &none     &bt BT_CLR_ALL
       &none            &none            &none            &none            &none            &none                                                         &none   &none   &none   &none   &none              &none
       &none  &rgb_ug RGB_SPI  &rgb_ug RGB_SAI  &rgb_ug RGB_HUI  &rgb_ug RGB_BRI  &rgb_ug RGB_TOG                                                         &none   &none   &none   &none   &none              &none
 &bootloader  &rgb_ug RGB_SPD  &rgb_ug RGB_SAD  &rgb_ug RGB_HUD  &rgb_ug RGB_BRD  &rgb_ug RGB_EFF                                                         &none   &none   &none   &none   &none        &bootloader
  &sys_reset            &none            &none            &none            &none            &none   &bt_2   &bt_3         &none   &none   &none   &none   &none   &none   &none   &none   &none         &sys_reset
       &none            &none            &none            &none            &none                    &bt_0   &bt_1  &out OUT_USB   &none   &none   &none           &none   &none   &none   &none  &to LAYER_Factory
            >;
        };

        layer_Factory {
            bindings = <
 &kp N0  &kp N6  &kp N2  &kp N8  &kp N4                                                                  &kp N4  &kp N8  &kp N2  &kp N6  &kp N0
 &kp N1  &kp N7  &kp N3  &kp N9  &kp N5  &kp N0                                                  &kp N0  &kp N5  &kp N9  &kp N3  &kp N7  &kp N1
 &kp N2  &kp N8  &kp N4  &kp N0  &kp N6  &kp N1                                                  &kp N1  &kp N6  &kp N0  &kp N4  &kp N8  &kp N2
 &kp N3  &kp N9  &kp N5  &kp N1  &kp N7  &kp N2                                                  &kp N2  &kp N7  &kp N1  &kp N5  &kp N9  &kp N3
 &kp N4  &kp N0  &kp N6  &kp N2  &kp N8  &kp N3  &kp N4  &kp N5  &kp N6  &kp N6  &kp N5  &kp N4  &kp N3  &kp N8  &kp N2  &kp N6  &kp N0  &kp N4
 &kp N5  &kp N1  &kp N7  &kp N3  &kp N9          &kp N7  &kp N8  &kp N9  &kp N9  &kp N8  &kp N7          &kp N9  &kp N3  &kp N7  &kp N1  &kp N5
            >;
        };

    };
};
